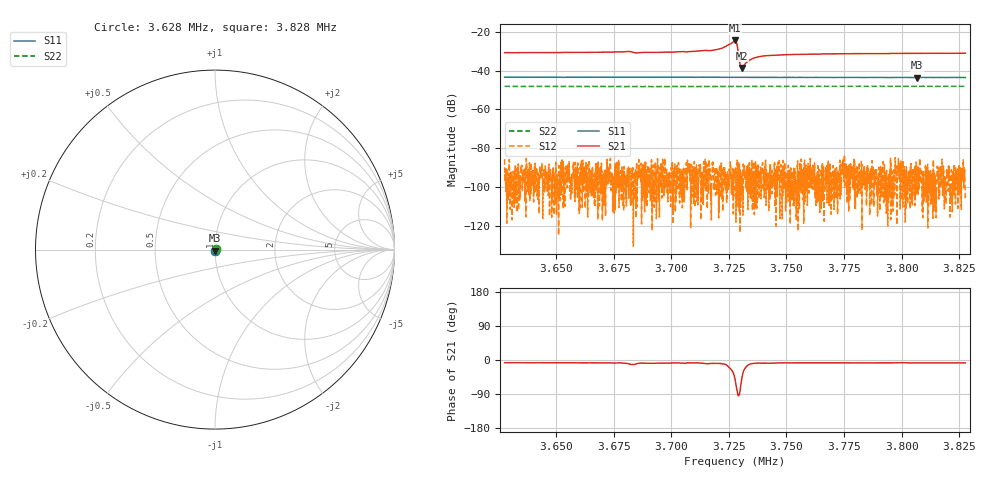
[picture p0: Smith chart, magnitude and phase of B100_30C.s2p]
# Hz S dB R 50.000
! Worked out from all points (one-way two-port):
!   6401 points, 3.628 MHz to 3.828 MHz, reference 50 ohm
!   highest |S21| = -24.56 dB at 3.728 MHz (marker M1); lowest = -38.6 dB at 3.731 MHz (marker M2)
!   lowest |S11| = -43.6 dB at 3.807 MHz (marker M3), VSWR 1.01, Z = 49.9 - j0.649 ohm
!   |S11| at or under -10 dB: start of sweep to end of sweep
!   |S22| runs from -48.3 to -47.9 dB; largest |S21 - S12| = 0.059
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3627656  -43.43 -98.7  -30.84 -7.2  -85.49 -44.5  -48.19 21.2
3661000  -43.48 -98.7  -30.69 -7.5  -93.73 -60.0  -48.14 22.1
3681281  -43.40 -98.6  -30.22 -9.5  -98.10 -122.0  -48.22 22.7
3684968  -43.46 -99.0  -30.98 -9.9  -87.82 3.2  -48.19 22.9
3694344  -43.39 -98.8  -30.68 -8.2  -89.17 39.9  -48.25 22.5
3717844  -43.49 -98.8  -29.63 -8.8  -87.95 38.8  -48.23 23.0
3722000  -43.48 -98.9  -28.53 -9.6  -106.62 -145.3  -48.24 22.7
3727062  -43.46 -98.9  -25.12 -36.7  -104.43 152.2  -48.16 22.5
3727656  -43.48 -98.8  -24.56 -50.8  -92.13 66.2  -48.21 22.3
3728000  -43.48 -98.5  -24.83 -62.3  -100.22 154.4  -48.24 22.7
3728375  -43.47 -98.9  -25.86 -76.7  -101.08 -83.2  -48.19 22.6
3729812  -43.50 -99.0  -36.51 -82.2  -106.59 -13.5  -48.23 22.5
3730187  -43.48 -98.9  -38.23 -65.9  -95.33 -55.4  -48.20 22.5
3730531  -43.46 -98.8  -38.62 -51.7  -103.61 87.3  -48.22 22.8
3731125  -43.49 -98.8  -37.90 -33.7  -114.28 78.5  -48.18 22.7
3732968  -43.51 -98.6  -35.55 -15.1  -99.15 -13.6  -48.17 22.3
3734875  -43.51 -99.0  -34.07 -9.7  -96.02 63.4  -48.22 22.4
3738781  -43.49 -98.7  -32.74 -8.2  -90.15 38.0  -48.12 22.3
3761000  -43.54 -98.8  -31.56 -7.5  -97.82 87.7  -48.06 22.2
3794344  -43.54 -98.7  -31.26 -7.0  -97.41 27.6  -48.12 23.1
3806562  -43.62 -99.0  -31.18 -7.5  -102.19 32.6  -48.13 22.9
3827656  -43.58 -98.4  -31.12 -7.6  -104.84 106.3  -48.12 23.0
